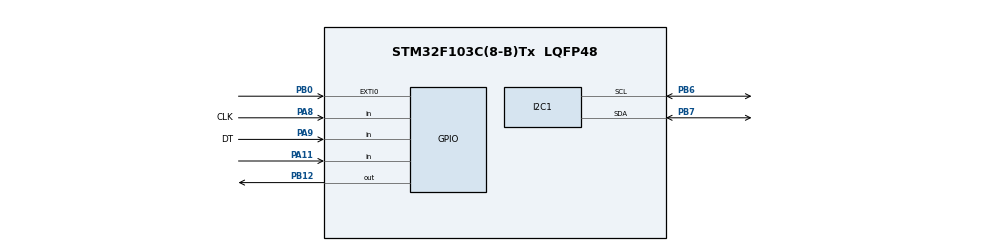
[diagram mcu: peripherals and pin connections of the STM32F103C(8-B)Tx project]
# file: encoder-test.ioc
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Mcu.Family=STM32F1
PC15-OSC32_OUT.Mode=LSE-External-Oscillator
PD1-OSC_OUT.Mode=HSE-External-Oscillator
PA9.GPIO_Label=DT
PD0-OSC_IN.Signal=RCC_OSC_IN
PC14-OSC32_IN.Signal=RCC_OSC32_IN
ProjectManager.StackSize=0x400
PD1-OSC_OUT.Signal=RCC_OSC_OUT
PA13.Signal=SYS_JTMS-SWDIO
PA8.GPIO_Label=CLK
ProjectManager.TargetToolchain=TrueSTUDIO
PA9.Signal=GPIO_Input
PB6.Signal=I2C1_SCL
PB6.Mode=I2C
PC15-OSC32_OUT.Signal=RCC_OSC32_OUT
PD0-OSC_IN.Mode=HSE-External-Oscillator
board=custom
PB0.GPIO_ModeDefaultEXTI=GPIO_MODE_IT_FALLING
RCC.APB2Freq_Value=8000000
PC14-OSC32_IN.Mode=LSE-External-Oscillator
PA14.Mode=Serial_Wire
PB7.Signal=I2C1_SDA
PA8.Signal=GPIO_Input
PA13.Mode=Serial_Wire
Mcu.Name=STM32F103C(8-B)Tx
NVIC.EXTI0_IRQn=true\:0\:0\:false\:false\:true\:true\:true
Mcu.Package=LQFP48
PB7.Mode=I2C
PA11.Signal=GPIO_Input
PA14.Signal=SYS_JTCK-SWCLK
ProjectManager.HeapSize=0x200
NVIC.PriorityGroup=NVIC_PRIORITYGROUP_4
RCC.APB1Freq_Value=8000000
PB0.Signal=GPXTI0
PB12.Signal=GPIO_Output

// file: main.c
/* USER CODE BEGIN Header */
/**
  ******************************************************************************
  * @file           : main.c
  * @brief          : Main program body
  ******************************************************************************
  * @attention
  *
  * <h2><center>&copy; Copyright (c) 2020 STMicroelectronics.
  * All rights reserved.</center></h2>
  *
  * This software component is licensed by ST under BSD 3-Clause license,
  * the "License"; You may not use this file except in compliance with the
  * License. You may obtain a copy of the License at:
  *                        opensource.org/licenses/BSD-3-Clause
  *
  ******************************************************************************
  */
/* USER CODE END Header */

#include "main.h"

/* USER CODE BEGIN Includes */

#include "i2c-lcd.h"
#include "stdio.h"

/* USER CODE END Includes */

I2C_HandleTypeDef hi2c1;

/* USER CODE BEGIN PV */

int count_to_set  = 20, state = 0,count=0,count_unit=0,flag_ngat=0;

/* USER CODE END PV */

void SystemClock_Config(void);
static void MX_GPIO_Init(void);
static void MX_I2C1_Init(void);

/* USER CODE BEGIN 0 */

void HAL_GPIO_EXTI_Callback(uint16_t GPIO_Pin){

	if(GPIO_Pin == GPIO_PIN_0){
		flag_ngat=1;
		if (state == 0){
			state = 1;
//			HAL_GPIO_WritePin(GPIOB, GPIO_PIN_12, 1);
		}
		else if(state == 1){
			state = 0;
//			HAL_GPIO_WritePin(GPIOB, GPIO_PIN_12, 0);
		}
	}
}
/* USER CODE END 0 */

int main(void)
{

  /* MCU Configuration--------------------------------------------------------*/

  /* Reset of all peripherals, Initializes the Flash interface and the Systick. */
  HAL_Init();

  /* Configure the system clock */
  SystemClock_Config();

  /* Initialize all configured peripherals */
  MX_GPIO_Init();
  MX_I2C1_Init();
  /* USER CODE BEGIN 2 */

  lcd_init();
  lcd_goto_XY(1, 0);

  char count_to_setDis[16],countDis[16],count_unitDis[16];
  char last_A_state = HAL_GPIO_ReadPin(CLK_GPIO_Port, CLK_Pin);
  char A_state;

  /* USER CODE END 2 */

  /* Infinite loop */
  while (1)
  {

    /* USER CODE BEGIN 3 */
	  if(state == 0){
		  if (flag_ngat==1)
		  {
			  	flag_ngat=0;
			  	lcd_clear_display();
		  }
		  lcd_goto_XY(1,0);
		  lcd_send_string("Package:");
		  lcd_goto_XY(2,0);
		  lcd_send_string("Unit:");
//		  sprintf(count_to_setDis, "%d", count_to_set/2);
		  if (HAL_GPIO_ReadPin(GPIOA,GPIO_PIN_11)==0)
		  {
			  count++;
			  HAL_Delay(10);
		  }
		  if (count==count_to_set)
		  {
			  count_unit++;
			  count=0;
			  HAL_Delay(10);
		  }
		  lcd_goto_XY(1,11);
		  sprintf(countDis, "%d ", count);
		  lcd_send_string(countDis);

		  lcd_goto_XY(2,11);
		  sprintf(count_unitDis, "%d ", count_unit);
		  lcd_send_string(count_unitDis);

		  last_A_state = HAL_GPIO_ReadPin(CLK_GPIO_Port, CLK_Pin);
	  }

	  else if (state == 1){
		  if (flag_ngat==1)
		  {
				flag_ngat=0;
				lcd_clear_display();
		  }

		  lcd_goto_XY(1,0);
		  lcd_send_string("Set package:");

		  A_state = HAL_GPIO_ReadPin(CLK_GPIO_Port, CLK_Pin);

		  count_to_set=count_to_set*2;

		  if(A_state != last_A_state){
			  if(HAL_GPIO_ReadPin(DT_GPIO_Port, DT_Pin) != A_state){
				  count_to_set++;
			  }
			  else{
				  count_to_set--;
			  }
		  }

		  count_to_set=count_to_set/2;
		  sprintf(count_to_setDis, "%d ", count_to_set);
		  lcd_goto_XY(2,0);
		  lcd_send_string(count_to_setDis);

		  last_A_state = A_state;
	  }

  }
  /* USER CODE END 3 */
}

void SystemClock_Config(void)
{
  RCC_OscInitTypeDef RCC_OscInitStruct = {0};
  RCC_ClkInitTypeDef RCC_ClkInitStruct = {0};

  /** Initializes the CPU, AHB and APB busses clocks
  */
  RCC_OscInitStruct.OscillatorType = RCC_OSCILLATORTYPE_HSI;
  RCC_OscInitStruct.HSIState = RCC_HSI_ON;
  RCC_OscInitStruct.HSICalibrationValue = RCC_HSICALIBRATION_DEFAULT;
  RCC_OscInitStruct.PLL.PLLState = RCC_PLL_NONE;
  if (HAL_RCC_OscConfig(&RCC_OscInitStruct) != HAL_OK)
  {
    Error_Handler();
  }
  /** Initializes the CPU, AHB and APB busses clocks
  */
  RCC_ClkInitStruct.ClockType = RCC_CLOCKTYPE_HCLK|RCC_CLOCKTYPE_SYSCLK
                              |RCC_CLOCKTYPE_PCLK1|RCC_CLOCKTYPE_PCLK2;
  RCC_ClkInitStruct.SYSCLKSource = RCC_SYSCLKSOURCE_HSI;
  RCC_ClkInitStruct.AHBCLKDivider = RCC_SYSCLK_DIV1;
  RCC_ClkInitStruct.APB1CLKDivider = RCC_HCLK_DIV1;
  RCC_ClkInitStruct.APB2CLKDivider = RCC_HCLK_DIV1;

  if (HAL_RCC_ClockConfig(&RCC_ClkInitStruct, FLASH_LATENCY_0) != HAL_OK)
  {
    Error_Handler();
  }
}

static void MX_I2C1_Init(void)
{

  hi2c1.Instance = I2C1;
  hi2c1.Init.ClockSpeed = 100000;
  hi2c1.Init.DutyCycle = I2C_DUTYCYCLE_2;
  hi2c1.Init.OwnAddress1 = 0;
  hi2c1.Init.AddressingMode = I2C_ADDRESSINGMODE_7BIT;
  hi2c1.Init.DualAddressMode = I2C_DUALADDRESS_DISABLE;
  hi2c1.Init.OwnAddress2 = 0;
  hi2c1.Init.GeneralCallMode = I2C_GENERALCALL_DISABLE;
  hi2c1.Init.NoStretchMode = I2C_NOSTRETCH_DISABLE;
  if (HAL_I2C_Init(&hi2c1) != HAL_OK)
  {
    Error_Handler();
  }

}

static void MX_GPIO_Init(void)
{
  GPIO_InitTypeDef GPIO_InitStruct = {0};

  /* GPIO Ports Clock Enable */
  __HAL_RCC_GPIOC_CLK_ENABLE();
  __HAL_RCC_GPIOD_CLK_ENABLE();
  __HAL_RCC_GPIOB_CLK_ENABLE();
  __HAL_RCC_GPIOA_CLK_ENABLE();

  /*Configure GPIO pin Output Level */
  HAL_GPIO_WritePin(GPIOB, GPIO_PIN_12, GPIO_PIN_RESET);

  /*Configure GPIO pin : PB0 */
  GPIO_InitStruct.Pin = GPIO_PIN_0;
  GPIO_InitStruct.Mode = GPIO_MODE_IT_FALLING;
  GPIO_InitStruct.Pull = GPIO_NOPULL;
  HAL_GPIO_Init(GPIOB, &GPIO_InitStruct);

  /*Configure GPIO pin : PB12 */
  GPIO_InitStruct.Pin = GPIO_PIN_12;
  GPIO_InitStruct.Mode = GPIO_MODE_OUTPUT_PP;
  GPIO_InitStruct.Pull = GPIO_NOPULL;
  GPIO_InitStruct.Speed = GPIO_SPEED_FREQ_LOW;
  HAL_GPIO_Init(GPIOB, &GPIO_InitStruct);

  /*Configure GPIO pins : CLK_Pin DT_Pin PA11 */
  GPIO_InitStruct.Pin = CLK_Pin|DT_Pin|GPIO_PIN_11;
  GPIO_InitStruct.Mode = GPIO_MODE_INPUT;
  GPIO_InitStruct.Pull = GPIO_NOPULL;
  HAL_GPIO_Init(GPIOA, &GPIO_InitStruct);

  /* EXTI interrupt init*/
  HAL_NVIC_SetPriority(EXTI0_IRQn, 0, 0);
  HAL_NVIC_EnableIRQ(EXTI0_IRQn);

}

void Error_Handler(void)
{
}

/************************ (C) COPYRIGHT STMicroelectronics *****END OF FILE****/
